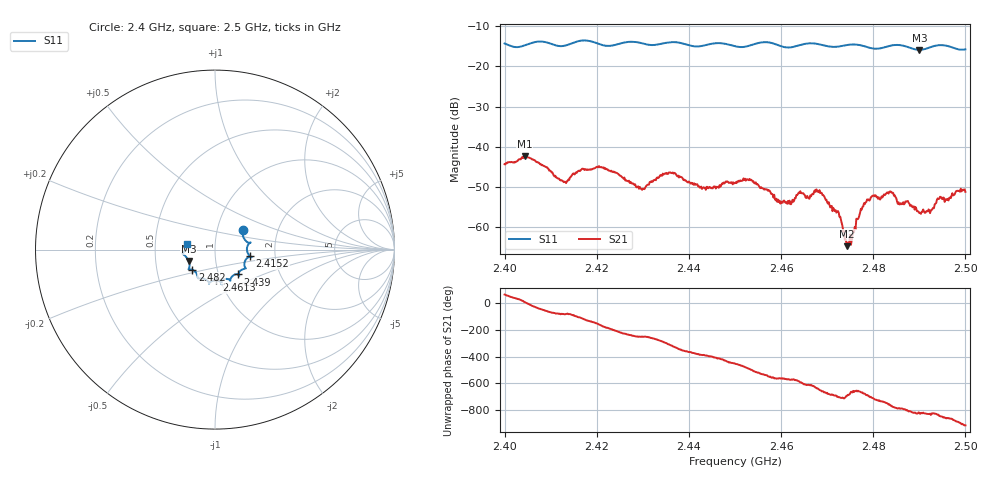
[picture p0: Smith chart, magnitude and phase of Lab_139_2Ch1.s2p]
# Hz S RI R 50
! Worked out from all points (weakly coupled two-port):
!   601 points, 2.4 GHz to 2.5 GHz, reference 50 ohm
!   highest |S21| = -42.41 dB at 2.4043 GHz (marker M1); lowest = -64.7 dB at 2.4743 GHz (marker M2)
!   lowest |S11| = -15.9 dB at 2.49 GHz (marker M3), VSWR 1.38, Z = 37 - j4.83 ohm
!   |S11| at or under -10 dB: start of sweep to end of sweep
!   S12 and S22 are empty: the file has one direction only
!   S11 on the Smith chart (normalised r, x): 2.4 GHz: 1.33, +0.31; 2.4152 GHz: 1.48, -0.11; 2.439 GHz: 1.24, -0.36; 2.4613 GHz: 0.96, -0.34; 2.482 GHz: 0.76, -0.18; 2.5 GHz: 0.72, +0.05
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2.4e9  0.1562 0.1116  0.00256 0.0055  0 0  0 0
2.404333e9  0.1755 0.0451  0.00748 0.00123  0 0  0 0
2.412833e9  0.179 -0.0078  0.000615 -0.00358  0 0  0 0
2.415167e9  0.1947 -0.0368  -0.0004 -0.00451  0 0  0 0
2.416667e9  0.2039 -0.0426  -0.00192 -0.00484  0 0  0 0
2.421e9  0.1784 -0.0483  -0.00545 -0.00127  0 0  0 0
2.43e9  0.1584 -0.1082  -0.00097 0.00286  0 0  0 0
2.433333e9  0.1322 -0.1322  0.000413 0.00406  0 0  0 0
2.439e9  0.1287 -0.1387  0.0039 0.000239  0 0  0 0
2.443167e9  0.0899 -0.1566  0.00278 -0.00143  0 0  0 0
2.45e9  0.0688 -0.1636  -0.000116 -0.00354  0 0  0 0
2.453167e9  0.0379 -0.1765  -0.00271 -0.00292  0 0  0 0
2.461333e9  0.00727 -0.1708  -0.00168 0.001  0 0  0 0
2.466667e9  -0.0334 -0.1899  -0.000603 0.00248  0 0  0 0
2.468333e9  -0.0338 -0.184  0.000953 0.00273  0 0  0 0
2.472333e9  -0.0697 -0.1607  0.0015 0.000538  0 0  0 0
2.474333e9  -0.0885 -0.161  0.000523 0.000257  0 0  0 0
2.4785e9  -0.0988 -0.1436  0.00177 0.00106  0 0  0 0
2.482e9  -0.1265 -0.1123  0.00224 -0.000692  0 0  0 0
2.483333e9  -0.1395 -0.1101  0.00202 -0.00167  0 0  0 0
2.49e9  -0.1465 -0.0637  -0.00027 -0.00148  0 0  0 0
2.5e9  -0.1587 0.033  -0.00266 0.000715  0 0  0 0
